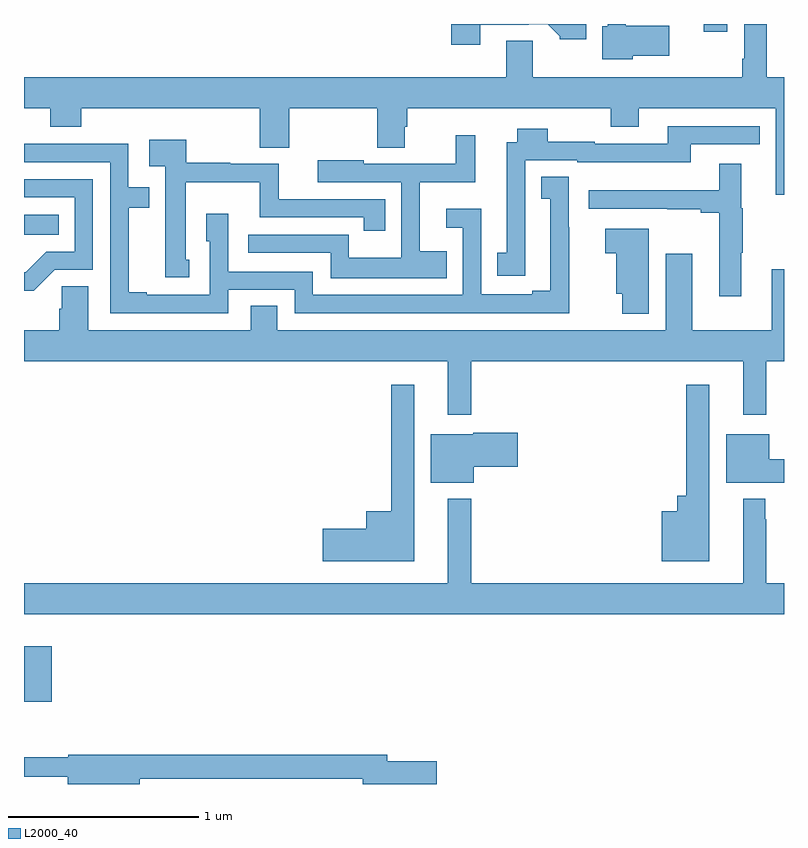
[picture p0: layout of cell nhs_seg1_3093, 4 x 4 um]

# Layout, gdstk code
import gdstk
lib = gdstk.Library(unit=1e-6, precision=1e-09)
def R(c, l, rs):  # rectangles x0, y0, x1, y1
    for r in rs: c.add(gdstk.rectangle(r[:2], r[2:], *l))
def P(c, l, *ps):  # polygons
    for p in ps: c.add(gdstk.Polygon(p, *l))
L2000_40 = (2000, 40)

nhs_seg1_3093 = lib.new_cell('nhs_seg1_3093')
R(nhs_seg1_3093, L2000_40, [(279,524.633,279.146,524.923), (279,527.09,279.182,527.194), (282.578,528.159,282.7,528.199)])
P(nhs_seg1_3093, L2000_40, [(282.204,528.032),(282.397,528.032),(282.397,528.19),(282.168,528.19),(282.168,528.199),(282.072,528.199),(282.072,528.186),(282.044,528.186),(282.044,528.014),(282.204,528.014)],
  [(281.401,528.195),(281.657,528.195),(281.657,528.198),(281.756,528.198),(281.82,528.134),(281.82,528.119),(281.959,528.119),(281.959,528.199),(281.249,528.199),(281.249,528.09),(281.401,528.09)],
  [(283,527.92),(282.908,527.92),(282.908,528.199),(282.792,528.199),(282.792,528.016),(282.78,528.016),(282.78,527.92),(281.677,527.92),(281.677,528.11),(281.537,528.11),(281.537,527.92),(279,527.92),(279,527.756),(279.137,527.756),(279.137,527.657),(279.302,527.657),(279.302,527.756),(280.24,527.756),(280.24,527.548),(280.395,527.548),(280.395,527.756),(280.858,527.756),(280.858,527.548),(281.005,527.548),(281.005,527.658),(281.018,527.658),(281.018,527.756),(282.088,527.756),(282.088,527.657),(282.235,527.657),(282.235,527.756),(282.957,527.756),(282.957,527.301),(283,527.301)],
  [(281.638,527.198),(281.637,527.198),(281.637,527.481),(281.913,527.481),(281.913,527.471),(282.508,527.471),(282.508,527.565),(282.872,527.565),(282.872,527.661),(282.389,527.661),(282.389,527.568),(282.003,527.568),(282.003,527.578),(281.757,527.578),(281.757,527.647),(281.597,527.647),(281.597,527.577),(281.54,527.577),(281.54,526.995),(281.491,526.995),(281.491,526.875),(281.638,526.875)],
  [(281.225,527.002),(281.083,527.002),(281.083,527.366),(281.374,527.366),(281.374,527.614),(281.272,527.614),(281.272,527.463),(280.789,527.463),(280.789,527.482),(280.545,527.482),(280.545,527.367),(280.986,527.367),(280.986,526.969),(280.71,526.969),(280.71,527.09),(280.607,527.09),(280.607,527.091),(280.179,527.091),(280.179,526.995),(280.614,526.995),(280.614,526.862),(281.225,526.862)],
  [(279.871,526.959),(279.85,526.959),(279.85,527.366),(280.241,527.366),(280.241,527.181),(280.788,527.181),(280.788,527.112),(280.901,527.112),(280.901,527.277),(280.34,527.277),(280.34,527.463),(280.086,527.463),(280.086,527.468),(279.853,527.468),(279.853,527.59),(279.66,527.59),(279.66,527.45),(279.744,527.45),(279.744,527.354),(279.743,527.354),(279.743,526.866),(279.871,526.866)],
  [(281.871,527.129),(281.868,527.129),(281.868,527.396),(281.722,527.396),(281.722,527.278),(281.771,527.278),(281.771,526.795),(281.675,526.795),(281.675,526.777),(281.406,526.777),(281.406,527.227),(281.223,527.227),(281.223,527.126),(281.31,527.126),(281.31,526.773),(280.521,526.773),(280.521,526.896),(280.074,526.896),(280.074,527.2),(279.959,527.2),(279.959,527.055),(279.978,527.055),(279.978,526.773),(279.646,526.773),(279.646,526.786),(279.551,526.786),(279.551,527.232),(279.658,527.232),(279.658,527.34),(279.549,527.34),(279.549,527.568),(279.053,527.568),(279.053,527.57),(279,527.57),(279,527.472),(279.453,527.472),(279.453,526.677),(280.074,526.677),(280.074,526.8),(280.425,526.8),(280.425,526.677),(281.413,526.677),(281.413,526.676),(281.871,526.676)],
  [(282.775,526.996),(282.783,526.996),(282.783,527.229),(282.775,527.229),(282.775,527.464),(282.659,527.464),(282.659,527.323),(281.973,527.323),(281.973,527.226),(282.385,527.226),(282.385,527.224),(282.563,527.224),(282.563,527.206),(282.659,527.206),(282.659,526.767),(282.775,526.767)],
  [(279.162,526.905),(279.363,526.905),(279.363,527.382),(279,527.382),(279,527.286),(279.267,527.286),(279.267,527.001),(279.116,527.001),(279.008,526.893),(279,526.893),(279,526.796),(279.052,526.796)],
  [(282.289,527.122),(282.06,527.122),(282.06,526.993),(282.116,526.993),(282.116,526.778),(282.149,526.778),(282.149,526.673),(282.289,526.673)],
  [(281.231,526.143),(281.353,526.143),(281.353,526.424),(282.785,526.424),(282.785,526.143),(282.907,526.143),(282.907,526.424),(283,526.424),(283,526.909),(282.935,526.909),(282.935,526.588),(282.517,526.588),(282.517,526.99),(282.377,526.99),(282.377,526.588),(280.333,526.588),(280.333,526.715),(280.193,526.715),(280.193,526.588),(279.337,526.588),(279.337,526.82),(279.199,526.82),(279.199,526.7),(279.185,526.7),(279.185,526.588),(279,526.588),(279,526.424),(281.231,526.424)],
  [(281.053,526.3),(280.932,526.3),(280.932,525.634),(280.802,525.634),(280.802,525.542),(280.572,525.542),(280.572,525.371),(281.053,525.371)],
  [(282.607,526.3),(282.486,526.3),(282.486,525.715),(282.437,525.715),(282.437,525.634),(282.356,525.634),(282.356,525.371),(282.607,525.371)],
  [(281.368,525.869),(281.599,525.869),(281.599,526.047),(281.364,526.047),(281.364,526.039),(281.141,526.039),(281.141,525.785),(281.368,525.785)],
  [(283,525.908),(282.922,525.908),(282.922,526.039),(282.695,526.039),(282.695,525.785),(283,525.785)],
  [(283,525.256),(282.907,525.256),(282.907,525.593),(282.9,525.593),(282.9,525.7),(282.785,525.7),(282.785,525.256),(281.353,525.256),(281.353,525.7),(281.231,525.7),(281.231,525.256),(279,525.256),(279,525.092),(283,525.092)],
  [(279.61,524.226),(280.784,524.226),(280.784,524.199),(281.173,524.199),(281.173,524.318),(280.912,524.318),(280.912,524.354),(279.234,524.354),(279.234,524.339),(279,524.339),(279,524.238),(279.23,524.238),(279.23,524.199),(279.61,524.199)])

lib.write_gds('nhs_seg1_3093.gds')
